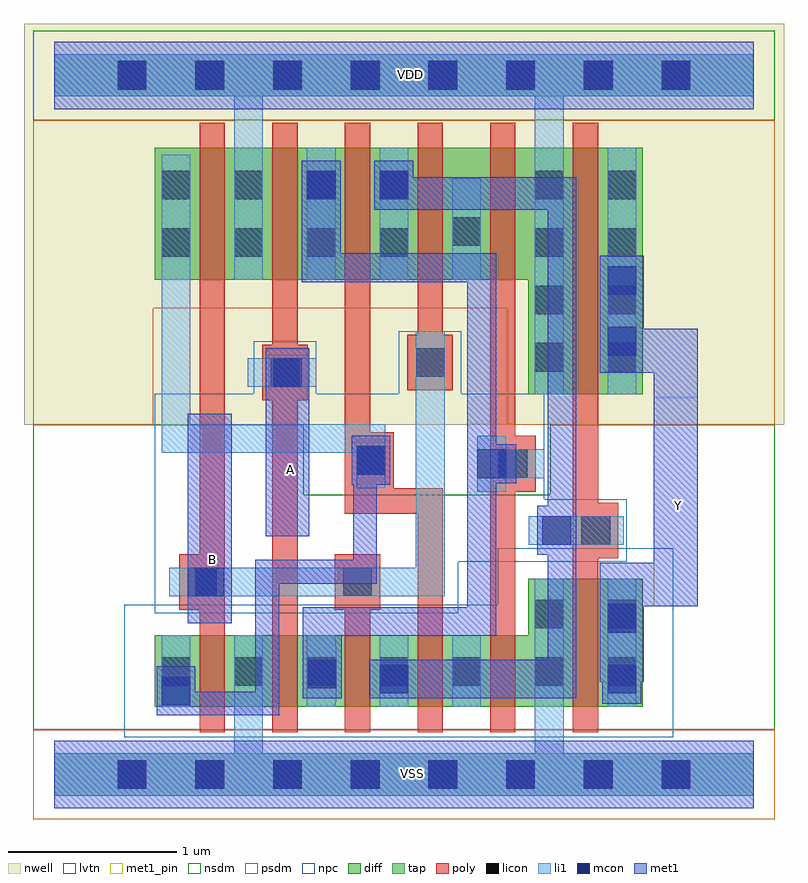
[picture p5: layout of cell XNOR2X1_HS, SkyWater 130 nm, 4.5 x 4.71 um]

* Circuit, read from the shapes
.subckt XNOR2X1_HS A B VDD VSS Y
XM1 VSS B n1 VSS sky130_fd_pr__nfet_01v8_lvt w=0.425 l=0.15
XM2 n2 A VSS VSS sky130_fd_pr__nfet_01v8_lvt w=0.425 l=0.15
XM3 n3 B n2 VSS sky130_fd_pr__nfet_01v8_lvt w=0.425 l=0.15
XM4 n4 n1 n3 VSS sky130_fd_pr__nfet_01v8_lvt w=0.425 l=0.15
XM5 VSS n2 n4 VSS sky130_fd_pr__nfet_01v8_lvt w=0.425 l=0.15
XM6 Y n3 VSS VSS sky130_fd_pr__nfet_01v8_lvt w=0.76 l=0.15
XM7 VDD B n1 VDD sky130_fd_pr__pfet_01v8 w=0.78 l=0.15
XM8 n2 A VDD VDD sky130_fd_pr__pfet_01v8 w=0.78 l=0.15
XM9 n3 n1 n2 VDD sky130_fd_pr__pfet_01v8 w=0.78 l=0.15
XM10 n5 B n3 VDD sky130_fd_pr__pfet_01v8 w=0.78 l=0.15
XM11 VDD n2 n5 VDD sky130_fd_pr__pfet_01v8 w=0.78 l=0.15
XM12 Y n3 VDD VDD sky130_fd_pr__pfet_01v8 w=1.46 l=0.15
.ends

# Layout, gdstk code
from math import pi, radians
import gdstk
lib = gdstk.Library(unit=1e-6, precision=1e-09)
def R(c, l, rs):  # rectangles x0, y0, x1, y1
    for r in rs: c.add(gdstk.rectangle(r[:2], r[2:], *l))
def A(c, l, x, y, w, h, nx, ny, dx, dy):  # array of equal rectangles
    R(c, l, [(x+i*dx, y+j*dy, x+i*dx+w, y+j*dy+h) for i in range(nx) for j in range(ny)])
def P(c, l, *ps):  # polygons
    for p in ps: c.add(gdstk.Polygon(p, *l))
nwell = (64, 20)
diff = (65, 20)
tap = (65, 44)
poly = (66, 20)
licon = (66, 44)
li1 = (67, 20)
mcon = (67, 44)
met1_pin = (68, 16)
met1 = (68, 20)
nsdm = (93, 44)
psdm = (94, 20)
npc = (95, 20)
lvtn = (125, 44)

pyl1con_c_cdns_758729172 = lib.new_cell('PYL1CON_C_CDNS_7587291728616')
R(pyl1con_c_cdns_758729172, poly, [(-0.165,-0.135,0.165,0.135)])
R(pyl1con_c_cdns_758729172, licon, [(-0.085,-0.085,0.085,0.085)])
R(pyl1con_c_cdns_758729172, npc, [(-0.185,-0.185,0.185,0.185)])

l1m1_c_cdns_758729172867 = lib.new_cell('L1M1_C_CDNS_758729172867')
R(l1m1_c_cdns_758729172867, li1, [(-0.085,-0.085,0.085,0.165)])
R(l1m1_c_cdns_758729172867, mcon, [(-0.085,-0.085,0.085,0.085)])
R(l1m1_c_cdns_758729172867, met1, [(-0.115,-0.145,0.115,0.145)])

l1m1_c_cdns_758729172861 = lib.new_cell('L1M1_C_CDNS_758729172861')
R(l1m1_c_cdns_758729172861, li1, [(-0.085,-0.165,0.085,0.165)])
R(l1m1_c_cdns_758729172861, mcon, [(-0.085,-0.085,0.085,0.085)])
R(l1m1_c_cdns_758729172861, met1, [(-0.115,-0.145,0.115,0.145)])

c_pyl1con_c_cdns_758729172 = lib.new_cell('PYL1CON_C_CDNS_758729172862')
R(c_pyl1con_c_cdns_758729172, poly, [(-0.135,-0.165,0.135,0.165)])
R(c_pyl1con_c_cdns_758729172, licon, [(-0.085,-0.085,0.085,0.085)])
R(c_pyl1con_c_cdns_758729172, npc, [(-0.185,-0.185,0.185,0.185)])

c_l1m1_c_cdns_758729172861 = lib.new_cell('L1M1_C_CDNS_7587291728612')
R(c_l1m1_c_cdns_758729172861, li1, [(-0.085,-0.165,0.085,0.085)])
R(c_l1m1_c_cdns_758729172861, mcon, [(-0.085,-0.085,0.085,0.085)])
R(c_l1m1_c_cdns_758729172861, met1, [(-0.115,-0.145,0.115,0.145)])

l1m1_c_cdns_758729172863 = lib.new_cell('L1M1_C_CDNS_758729172863')
R(l1m1_c_cdns_758729172863, li1, [(-0.085,-0.165,0.085,0.165)])
R(l1m1_c_cdns_758729172863, mcon, [(-0.085,-0.085,0.085,0.085)])
R(l1m1_c_cdns_758729172863, met1, [(-0.145,-0.115,0.145,0.115)])

l1m1_c_cdns_758729172864 = lib.new_cell('L1M1_C_CDNS_758729172864')
R(l1m1_c_cdns_758729172864, li1, [(-0.085,-0.345,0.085,0.345)])
R(l1m1_c_cdns_758729172864, mcon, [(-0.085,-0.265,0.085,-0.095), (-0.085,0.095,0.085,0.265)])
R(l1m1_c_cdns_758729172864, met1, [(-0.115,-0.325,0.115,0.325)])

l1m1_c_cdns_758729172860 = lib.new_cell('L1M1_C_CDNS_758729172860')
R(l1m1_c_cdns_758729172860, li1, [(-0.165,-0.085,0.165,0.085)])
R(l1m1_c_cdns_758729172860, mcon, [(-0.085,-0.085,0.085,0.085)])
R(l1m1_c_cdns_758729172860, met1, [(-0.115,-0.145,0.115,0.145)])

xnor2x1_hs = lib.new_cell('XNOR2X1_HS')
R(xnor2x1_hs, nwell, [(-0.18,2.07,4.32,4.445)])
P(xnor2x1_hs, diff, [(3.485,3.71),(0.595,3.71),(0.595,2.93),(2.805,2.93),(2.805,2.25),(3.485,2.25)],
  [(3.485,1.16),(2.805,1.16),(2.805,0.825),(0.595,0.825),(0.595,0.4),(3.485,0.4)])
R(xnor2x1_hs, poly, [(0.86,0.25,1.01,3.86), (1.29,0.25,1.44,3.86), (1.72,0.25,1.87,0.975), (2.58,0.25,2.73,3.86), (3.07,0.25,3.22,3.86), (2.15,2.44,2.3,3.86)])
P(xnor2x1_hs, poly, [(2.3,1.695),(1.93,1.695),(1.93,2.025),(1.87,2.025),(1.87,3.86),(1.72,3.86),(1.72,1.545),(2.15,1.545),(2.15,0.25),(2.3,0.25)])
A(xnor2x1_hs, licon, 0.375, -0.085, 0.17, 0.17, 8, 2, 0.46, 4.14)
A(xnor2x1_hs, licon, 0.635, 0.525, 0.17, 0.17, 5, 1, 0.43, 0)
A(xnor2x1_hs, licon, 2.845, 2.385, 0.17, 0.17, 1, 4, 0, 0.34)
A(xnor2x1_hs, licon, 3.275, 2.385, 0.17, 0.17, 1, 4, 0, 0.34)
A(xnor2x1_hs, licon, 0.635, 3.065, 0.17, 0.17, 4, 2, 0.43, 0.34)
R(xnor2x1_hs, licon, [(2.845,0.525,3.015,0.695), (3.275,0.525,3.445,0.695), (2.845,0.865,3.015,1.035), (3.275,0.865,3.445,1.035), (2.355,3.13,2.525,3.3)])
A(xnor2x1_hs, li1, 1.495, 0.4, 0.17, 0.425, 3, 1, 0.43, 0)
R(xnor2x1_hs, li1, [(0.635,0.4,0.805,0.825), (3.275,0.4,3.445,1.16), (3.275,2.25,3.445,3.71), (1.495,2.93,1.665,3.71), (1.925,2.93,2.095,3.71), (2.355,2.93,2.525,3.53)])
P(xnor2x1_hs, li1, [(1.96,2.075),(0.805,2.075),(0.805,3.67),(0.635,3.67),(0.635,1.905),(1.96,1.905)],
  [(2.31,2.625),(2.14,2.625),(2.14,1.225),(0.68,1.225),(0.68,1.055),(2.31,1.055)],
  [(4.14,4.265),(0,4.265),(0,4.015),(1.065,4.015),(1.065,2.93),(1.235,2.93),(1.235,4.015),(2.845,4.015),(2.845,2.25),(3.015,2.25),(3.015,4.015),(4.14,4.015)],
  [(4.14,0.125),(3.015,0.125),(3.015,1.16),(2.845,1.16),(2.845,0.125),(1.235,0.125),(1.235,0.825),(1.065,0.825),(1.065,0.125),(0,0.125),(0,-0.125),(4.14,-0.125)])
A(xnor2x1_hs, mcon, 0.375, -0.085, 0.17, 0.17, 8, 2, 0.46, 4.14)
R(xnor2x1_hs, met1_pin, [(0.79,0.895,1.05,2.135), (3.55,0.995,3.81,2.235), (1.25,1.41,1.51,2.485)])
P(xnor2x1_hs, met1, [(1.91,1.86),(1.77,1.86),(1.77,1.27),(1.19,1.27),(1.19,0.49),(0.835,0.49),(0.835,0.495),(0.605,0.495),(0.605,0.35),(1.33,0.35),(1.33,1.13),(1.91,1.13)],
  [(2.615,3.085),(1.695,3.085),(1.695,3.45),(1.465,3.45),(1.465,2.915),(2.445,2.915),(2.445,0.99),(1.47,0.99),(1.47,0.66),(1.7,0.66),(1.7,0.82),(2.615,0.82)],
  [(3.09,3.535),(2.01,3.535),(2.01,3.345),(2.92,3.345),(2.92,0.68),(2,0.68),(2,0.45),(3.09,0.45)])
R(xnor2x1_hs, nsdm, [(-0.125,3.875,4.265,4.405)])
P(xnor2x1_hs, nsdm, [(4.265,2.07),(2.935,2.07),(2.935,1.655),(1.475,1.655),(1.475,2.07),(-0.125,2.07),(-0.125,0.265),(4.265,0.265)])
R(xnor2x1_hs, psdm, [(-0.125,-0.265,4.265,0.265)])
P(xnor2x1_hs, psdm, [(4.265,3.875),(-0.125,3.875),(-0.125,2.07),(0.585,2.07),(0.585,2.76),(2.68,2.76),(2.68,2.07),(4.265,2.07)])
P(xnor2x1_hs, npc, [(3.29,1.63),(2.9,1.63),(2.9,2.255),(0.595,2.255),(0.595,0.955),(2.39,0.955),(2.39,1.26),(3.29,1.26)])
P(xnor2x1_hs, lvtn, [(3.665,1.34),(2.625,1.34),(2.625,1.005),(0.415,1.005),(0.415,0.22),(3.665,0.22)])
xnor2x1_hs.add(gdstk.FlexPath([(1.145,2.38),(1.55,2.38)], 0.17, ends="flush", simple_path=True, layer=67, datatype=20))  # li1
xnor2x1_hs.add(gdstk.FlexPath([(2.595,1.84),(2.9,1.84)], 0.17, ends="flush", simple_path=True, layer=67, datatype=20))  # li1
xnor2x1_hs.add(gdstk.FlexPath([(3.065,1.445),(3.37,1.445)], 0.17, ends="flush", simple_path=True, layer=67, datatype=20))  # li1
xnor2x1_hs.add(gdstk.FlexPath([(0,4.14),(4.14,4.14)], 0.4, ends="flush", simple_path=True, layer=68, datatype=16))  # met1_pin
xnor2x1_hs.add(gdstk.FlexPath([(0,0),(4.14,0)], 0.4, ends="flush", simple_path=True, layer=68, datatype=16))  # met1_pin
xnor2x1_hs.add(gdstk.FlexPath([(0,4.14),(4.14,4.14)], 0.4, ends="flush", simple_path=True, layer=68, datatype=20))  # met1
xnor2x1_hs.add(gdstk.FlexPath([(0,0),(4.14,0)], 0.4, ends="flush", simple_path=True, layer=68, datatype=20))  # met1
xnor2x1_hs.add(gdstk.FlexPath([(3.36,0.875),(3.36,1.125),(3.68,1.125),(3.68,2.51),(3.36,2.51),(3.36,2.745)], 0.26, ends=(0.325, 0.325), simple_path=True, layer=68, datatype=20))  # met1
xnor2x1_hs.add(gdstk.FlexPath([(1.38,1.41),(1.38,2.525)], 0.26, ends="flush", simple_path=True, layer=68, datatype=20))  # met1
xnor2x1_hs.add(gdstk.FlexPath([(0.92,0.895),(0.92,2.135)], 0.26, ends="flush", simple_path=True, layer=68, datatype=20))  # met1
xnor2x1_hs.add(gdstk.FlexPath([(0,4.14),(4.14,4.14)], 0.25, ends="flush", simple_path=True, layer=65, datatype=44))  # tap
xnor2x1_hs.add(gdstk.FlexPath([(0,0),(4.14,0)], 0.25, ends="flush", simple_path=True, layer=65, datatype=44))  # tap
xnor2x1_hs.add(gdstk.Reference(pyl1con_c_cdns_758729172, (3.205,1.445), rotation=3*pi/2))
xnor2x1_hs.add(gdstk.Reference(l1m1_c_cdns_758729172867, (0.72,0.495)))
xnor2x1_hs.add(gdstk.Reference(l1m1_c_cdns_758729172861, (1.585,0.595)))
xnor2x1_hs.add(gdstk.Reference(l1m1_c_cdns_758729172861, (1.875,1.86), rotation=pi))
xnor2x1_hs.add(gdstk.Reference(c_pyl1con_c_cdns_758729172, (0.875,1.14)))
xnor2x1_hs.add(gdstk.Reference(c_pyl1con_c_cdns_758729172, (2.225,2.44)))
xnor2x1_hs.add(gdstk.Reference(c_pyl1con_c_cdns_758729172, (1.365,2.38)))
xnor2x1_hs.add(gdstk.Reference(c_pyl1con_c_cdns_758729172, (1.795,1.14)))
xnor2x1_hs.add(gdstk.Reference(c_pyl1con_c_cdns_758729172, (2.715,1.84)))
xnor2x1_hs.add(gdstk.Reference(c_pyl1con_c_cdns_758729172, (1.875,1.86)))
xnor2x1_hs.add(gdstk.Reference(c_l1m1_c_cdns_758729172861, (2.01,3.49)))
xnor2x1_hs.add(gdstk.Reference(c_l1m1_c_cdns_758729172861, (1.58,3.49)))
xnor2x1_hs.add(gdstk.Reference(l1m1_c_cdns_758729172863, (2.01,0.565)))
xnor2x1_hs.add(gdstk.Reference(l1m1_c_cdns_758729172864, (3.36,0.745)))
xnor2x1_hs.add(gdstk.Reference(l1m1_c_cdns_758729172864, (3.36,2.745)))
xnor2x1_hs.add(gdstk.Reference(l1m1_c_cdns_758729172860, (2.975,1.445)))
xnor2x1_hs.add(gdstk.Reference(l1m1_c_cdns_758729172860, (1.38,2.38), x_reflection=True))
xnor2x1_hs.add(gdstk.Reference(l1m1_c_cdns_758729172860, (2.59,1.84), rotation=3*pi/2))
xnor2x1_hs.add(gdstk.Reference(l1m1_c_cdns_758729172860, (0.92,1.14), x_reflection=True))
xnor2x1_hs.add(gdstk.Label('VSS', (2.12,0.005), layer=68, texttype=5))
xnor2x1_hs.add(gdstk.Label('VDD', (2.11,4.145), layer=68, texttype=5))
xnor2x1_hs.add(gdstk.Label('Y', (3.695,1.59), layer=68, texttype=5))
xnor2x1_hs.add(gdstk.Label('A', (1.395,1.805), layer=68, texttype=5))
xnor2x1_hs.add(gdstk.Label('B', (0.935,1.275), layer=68, texttype=5))

lib.write_gds('XNOR2X1_HS.gds')
